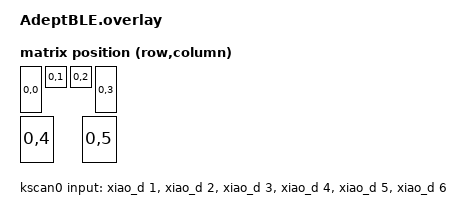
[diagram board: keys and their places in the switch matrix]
#include <dt-bindings/zmk/input_transform.h>
#include <input/processors.dtsi>
#include <dt-bindings/zmk/matrix_transform.h>
#include <physical_layouts.dtsi>
#include <zephyr/dt-bindings/input/input-event-codes.h>

// layers
#define DEFAULT 0
#define SCRLM 1
#define SCRLH 2
#define DEVICE 3
#define BLTH 4
#define SNIPE 5

/ {
    chosen {
        zmk,kscan = &kscan0;
        zmk,physical-layout = &physical_layout0;
    };

    kscan0: kscan {
        compatible = "zmk,kscan-gpio-direct";
        wakeup-source;
        input-gpios
            = <&xiao_d 1 (GPIO_ACTIVE_LOW | GPIO_PULL_UP)>
            , <&xiao_d 2 (GPIO_ACTIVE_LOW | GPIO_PULL_UP)>
            , <&xiao_d 3 (GPIO_ACTIVE_LOW | GPIO_PULL_UP)>
            , <&xiao_d 4 (GPIO_ACTIVE_LOW | GPIO_PULL_UP)>
            , <&xiao_d 5 (GPIO_ACTIVE_LOW | GPIO_PULL_UP)>
            , <&xiao_d 6 (GPIO_ACTIVE_LOW | GPIO_PULL_UP)>
            ;
    };

    default_transform: keymap_transform_0 {
        compatible = "zmk,matrix-transform";
        rows = <2>;
        columns = <4>;
        map = <
            RC(0,0) RC(0,1) RC(0,2) RC(0,3)
            RC(0,4) RC(0,5)
        >;
    };

    physical_layout0: physical_layout_0 {
        compatible = "zmk,physical-layout";
        display-name = "Default Layout";

        transform = <&default_transform>;
        kscan = <&kscan0>;

        keys  //                     w   h    x    y     rot    rx    ry
            = <&key_physical_attrs  50 100    0    0       0     0     0>
            , <&key_physical_attrs  50  50   50    0       0     0     0>
            , <&key_physical_attrs  50  50  100    0       0     0     0>
            , <&key_physical_attrs  50 100  150    0       0     0     0>
            , <&key_physical_attrs  75 100    0  100       0     0     0>
            , <&key_physical_attrs  75 100  125  100       0     0     0>
            ;
    };

    position_map {
        compatible = "zmk,physical-layout-position-map";

        complete;

        layout1: layout1 {
            physical-layout = <&physical_layout0>;
            positions
                = < 0  1  2  3>
                , < 4        5>
                ;
        };
    };
};

&gpio0 {
    fastbatcharge: fast-battery-charge {
        gpio-hog;
        gpios = <13 GPIO_ACTIVE_HIGH>;
        output-low;
        line-name = "Fast Battery Charge";
    };
};

&pinctrl {
    spi0_default: spi0_default {
        group1 {
            psels = <NRF_PSEL(SPIM_SCK, 1, 13)>,
                    <NRF_PSEL(SPIM_MOSI, 1, 14)>,
                    <NRF_PSEL(SPIM_MISO, 1, 14)>;
        };
    };

    spi0_sleep: spi0_sleep {
        group1 {
            psels = <NRF_PSEL(SPIM_SCK, 1, 13)>,
                    <NRF_PSEL(SPIM_MOSI, 1, 14)>,
                    <NRF_PSEL(SPIM_MISO, 1, 14)>;
            low-power-enable;
        };
    };
};

&uart0 {
    status = "disabled";
};

&xiao_serial {
    status = "disabled";
};


&spi0 {
    status = "okay";
    compatible = "nordic,nrf-spim";
    pinctrl-0 = <&spi0_default>;
    pinctrl-1 = <&spi0_sleep>;
    pinctrl-names = "default", "sleep";
    cs-gpios = <&xiao_d 7 GPIO_ACTIVE_LOW>;
    trackball: trackball@0 {
        status = "okay";
        compatible = "pixart,pmw3610";
        reg = <0>;
        spi-max-frequency = <2000000>;
        irq-gpios = <&xiao_d 10 (GPIO_ACTIVE_LOW | GPIO_PULL_UP)>;
        cpi = <800>;
        evt-type = <INPUT_EV_REL>;
        x-input-code = <INPUT_REL_X>;
        y-input-code = <INPUT_REL_Y>;

        force-awake;
    };
};

/ {
  trackball_listener: trackball_listner {
    compatible = "zmk,input-listener";
    device = <&trackball>;
    input-processors = <&zip_xy_swap_mapper>;

    default {
        layers = <DEFAULT>;
        process-next;
    };
    scroll {
        layers = <SCRLM SCRLH>;
        input-processors = <&zip_xy_transform (INPUT_TRANSFORM_X_INVERT)>, <&zip_xy_swap_mapper>, <&zip_xy_scaler 1 10>, <&zip_xy_to_scroll_mapper>;
        process-next;
    };
    snipe {
        layers = <SNIPE>;
        input-processors = <&zip_xy_scaler 1 5>;
        process-next;
    };
  };
}; 
